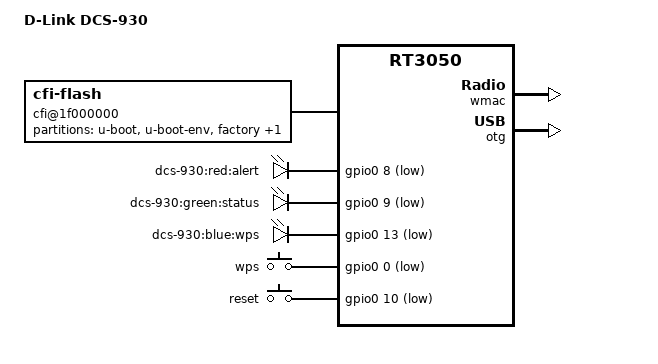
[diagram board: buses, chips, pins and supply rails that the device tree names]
/dts-v1/;

#include "rt3050.dtsi"

#include <dt-bindings/gpio/gpio.h>
#include <dt-bindings/input/input.h>

/ {
	compatible = "dlink,dcs-930", "ralink,rt3050-soc";
	model = "D-Link DCS-930";

	aliases {
		led-boot = &led_status;
		led-failsafe = &led_status;
		led-running = &led_status;
		led-upgrade = &led_status;
	};

	cfi@1f000000 {
		compatible = "cfi-flash";
		reg = <0x1f000000 0x400000>;
		bank-width = <2>;
		device-width = <2>;

		partitions {
			compatible = "fixed-partitions";
			#address-cells = <1>;
			#size-cells = <1>;

			partition@0 {
				label = "u-boot";
				reg = <0x0 0x30000>;
				read-only;
			};

			partition@30000 {
				label = "u-boot-env";
				reg = <0x30000 0x10000>;
				read-only;
			};

			factory: partition@40000 {
				label = "factory";
				reg = <0x40000 0x10000>;
				read-only;
			};

			partition@50000 {
				compatible = "denx,uimage";
				label = "firmware";
				reg = <0x50000 0x3b0000>;
			};
		};
	};

	leds {
		compatible = "gpio-leds";

		wifi {
			label = "dcs-930:red:alert";
			gpios = <&gpio0 8 GPIO_ACTIVE_LOW>;
		};

		led_status: status {
			label = "dcs-930:green:status";
			gpios = <&gpio0 9 GPIO_ACTIVE_LOW>;
		};

		wps {
			label = "dcs-930:blue:wps";
			gpios = <&gpio0 13 GPIO_ACTIVE_LOW>;
		};
	};

	keys {
		compatible = "gpio-keys-polled";
		poll-interval = <20>;

		wps {
			label = "wps";
			gpios = <&gpio0 0 GPIO_ACTIVE_LOW>;
			linux,code = <BTN_1>;
		};

		reset {
			label = "reset";
			gpios = <&gpio0 10 GPIO_ACTIVE_LOW>;
			linux,code = <KEY_RESTART>;
		};
	};
};

&pinctrl {
	state_default: pinctrl0 {
		gpio {
			ralink,group = "i2c", "spi", "jtag", "mdio", "rgmii", "uartf";
			ralink,function = "gpio";
		};
	};
};

&ethernet {
	mtd-mac-address = <&factory 0x4>;
};

&esw {
	mediatek,portmap = <0x2f>;
};

&wmac {
	ralink,mtd-eeprom = <&factory 0>;
};

&otg {
	status = "okay";
};
